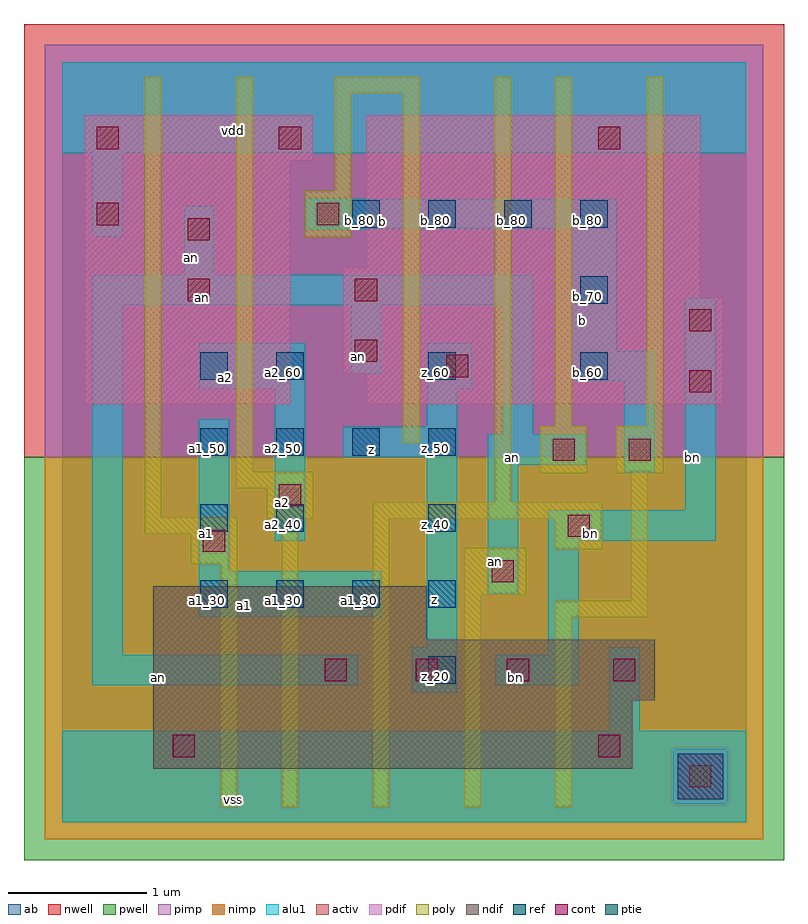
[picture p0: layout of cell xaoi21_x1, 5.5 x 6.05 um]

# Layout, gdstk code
import gdstk
lib = gdstk.Library(unit=1e-6, precision=2.5e-09)
def R(c, l, rs):  # rectangles x0, y0, x1, y1
    for r in rs: c.add(gdstk.rectangle(r[:2], r[2:], *l))
def A(c, l, x, y, w, h, nx, ny, dx, dy):  # array of equal rectangles
    R(c, l, [(x+i*dx, y+j*dy, x+i*dx+w, y+j*dy+h) for i in range(nx) for j in range(ny)])
ndif = (3, 0)
pdif = (4, 0)
ptie = (6, 0)
ref = (24, 0)
cont = (25, 0)
pwell = (41, 0)
nwell = (42, 0)
activ = (43, 0)
pimp = (44, 0)
nimp = (45, 0)
poly = (46, 0)
alu1 = (49, 0)
ab = (63, 0)

xaoi21_x1 = lib.new_cell('xaoi21_x1')
R(xaoi21_x1, ndif, [(0.66,0.385,4.125,0.88), (0.66,0.88,4.29,1.32), (0.66,1.32,2.64,1.705)])
R(xaoi21_x1, pdif, [(0.165,3.025,1.65,4.785), (2.2,3.025,4.785,3.245), (2.035,3.245,4.785,3.795), (2.035,3.795,4.62,4.015), (2.2,4.015,4.62,5.115), (0.165,4.785,1.815,5.115)])
R(xaoi21_x1, ptie, [(4.455,0.165,4.785,0.495)])
A(xaoi21_x1, ref, 1, 1.55, 0.2, 0.2, 4, 2, 0.55, 1.1)
A(xaoi21_x1, ref, 1.55, 3.2, 0.2, 0.2, 3, 1, 1.1, 0)
A(xaoi21_x1, ref, 2.1, 4.3, 0.2, 0.2, 4, 1, 0.55, 0)
R(xaoi21_x1, ref, [(2.65,1,2.85,1.2), (1,2.1,1.2,2.3), (1.55,2.1,1.75,2.3), (2.65,2.1,2.85,2.3), (1,3.2,1.2,3.4), (3.75,3.75,3.95,3.95)])
A(xaoi21_x1, cont, 1.9, 1.02, 0.16, 0.16, 3, 1, 0.66, 0)
R(xaoi21_x1, cont, [(4.54,0.25,4.7,0.41), (0.8,0.47,0.96,0.63), (3.88,0.47,4.04,0.63), (3.99,1.02,4.15,1.18), (3.11,1.735,3.27,1.895), (1.02,1.955,1.18,2.115), (3.66,2.065,3.82,2.225), (1.57,2.285,1.73,2.445), (3.55,2.615,3.71,2.775), (4.1,2.615,4.26,2.775), (4.54,3.11,4.7,3.27), (2.78,3.22,2.94,3.38), (2.12,3.33,2.28,3.49), (4.54,3.55,4.7,3.71), (0.91,3.77,1.07,3.93), (2.12,3.77,2.28,3.93), (0.91,4.21,1.07,4.37), (0.25,4.32,0.41,4.48), (1.845,4.32,2.005,4.48), (0.25,4.87,0.41,5.03), (1.57,4.87,1.73,5.03), (3.88,4.87,4.04,5.03)])
R(xaoi21_x1, pwell, [(-0.275,-0.275,5.225,2.64)])
R(xaoi21_x1, nwell, [(-0.275,2.64,5.225,5.775)])
R(xaoi21_x1, activ, [(4.455,0.165,4.785,0.495), (0.66,0.385,4.125,0.88), (0.66,0.88,4.29,1.32), (0.66,1.32,2.64,1.705), (0.165,3.025,1.65,4.785), (2.2,3.025,4.785,3.245), (2.035,3.245,4.785,3.795), (2.035,3.795,4.62,4.015), (2.2,4.015,4.62,5.115), (0.165,4.785,1.815,5.115)])
R(xaoi21_x1, pimp, [(4.415,0.125,4.825,0.535), (-0.125,2.64,5.075,5.625)])
R(xaoi21_x1, nimp, [(-0.125,-0.125,5.075,0.125), (-0.125,0.125,4.415,0.535), (4.825,0.125,5.075,0.535), (-0.125,0.535,5.075,2.64)])
R(xaoi21_x1, poly, [(1.15,0.105,1.27,1.865), (1.59,0.105,1.71,2.195), (2.25,0.105,2.37,2.195), (2.91,0.105,3.03,1.645), (3.57,0.105,3.69,1.48), (3.57,1.48,4.24,1.6), (4.12,1.6,4.24,2.525), (2.91,1.645,3.36,1.985), (0.93,1.865,1.27,2.085), (3.57,1.975,3.91,2.195), (0.6,2.085,1.27,2.205), (1.48,2.195,1.82,2.415), (2.25,2.195,3.91,2.315), (0.6,2.205,0.72,5.395), (3.13,2.315,3.25,5.395), (1.26,2.415,1.82,2.535), (3.46,2.525,3.8,2.865), (4.01,2.525,4.35,2.865), (1.26,2.535,1.38,5.395), (2.47,2.745,2.59,5.275), (3.57,2.865,3.69,5.395), (4.23,2.865,4.35,5.395), (1.755,4.23,2.095,4.57), (1.975,4.57,2.095,5.275), (1.975,5.275,2.59,5.395)])
R(xaoi21_x1, alu1, [(0,0,4.95,0.66), (3.96,0.66,4.18,1.265), (2.53,0.935,2.86,1.265), (0.22,0.99,2.145,1.21), (3.135,0.99,3.74,1.21), (0.22,1.21,0.44,3.74), (3.52,1.21,3.74,2.035), (2.64,1.265,2.86,2.64), (0.99,1.485,2.31,1.815), (3.08,1.65,3.3,2.585), (0.99,1.815,1.21,2.915), (1.54,2.035,1.76,3.135), (3.52,2.035,4.73,2.255), (4.51,2.255,4.73,3.795), (4.07,2.53,4.29,3.19), (3.08,2.585,3.795,2.805), (2.035,2.64,2.86,2.86), (3.19,2.805,3.41,3.74), (2.64,2.86,2.86,3.135), (0.99,3.135,1.76,3.465), (2.64,3.135,2.97,3.465), (3.685,3.19,4.29,3.41), (2.09,3.245,2.31,3.74), (3.685,3.41,4.015,4.29), (0.22,3.74,3.41,3.96), (0.88,3.96,1.1,4.455), (0.22,4.235,0.44,4.84), (1.76,4.29,4.015,4.51), (0,4.84,4.95,5.5)])
R(xaoi21_x1, ab, [(0,0,4.95,5.5)])
xaoi21_x1.add(gdstk.Label('vss', (1.2375,0.165), layer=49, texttype=0))
xaoi21_x1.add(gdstk.Label('bn', (3.285,1.045), layer=49, texttype=0))
xaoi21_x1.add(gdstk.Label('an', (0.7,1.045), layer=49, texttype=0))
xaoi21_x1.add(gdstk.Label('bn', (3.8225,2.09), layer=49, texttype=0))
xaoi21_x1.add(gdstk.Label('bn', (4.565,2.64), layer=49, texttype=0))
xaoi21_x1.add(gdstk.Label('an', (3.135,1.8825), layer=49, texttype=0))
xaoi21_x1.add(gdstk.Label('an', (3.2575,2.64), layer=49, texttype=0))
xaoi21_x1.add(gdstk.Label('z', (2.695,1.6075), layer=49, texttype=0))
xaoi21_x1.add(gdstk.Label('a1', (1.32,1.5675), layer=49, texttype=0))
xaoi21_x1.add(gdstk.Label('b', (3.7675,3.63), layer=49, texttype=0))
xaoi21_x1.add(gdstk.Label('z', (2.24,2.695), layer=49, texttype=0))
xaoi21_x1.add(gdstk.Label('a2', (1.595,2.31), layer=49, texttype=0))
xaoi21_x1.add(gdstk.Label('a1', (1.045,2.09), layer=49, texttype=0))
xaoi21_x1.add(gdstk.Label('an', (2.145,3.3675), layer=49, texttype=0))
xaoi21_x1.add(gdstk.Label('a2', (1.1825,3.2175), layer=49, texttype=0))
xaoi21_x1.add(gdstk.Label('an', (1.0175,3.795), layer=49, texttype=0))
xaoi21_x1.add(gdstk.Label('b', (2.3225,4.345), layer=49, texttype=0))
xaoi21_x1.add(gdstk.Label('an', (0.935,4.0825), layer=49, texttype=0))
xaoi21_x1.add(gdstk.Label('vdd', (1.2375,5.005), layer=49, texttype=0))
xaoi21_x1.add(gdstk.Label('z_50', (2.15,2.7), layer=24, texttype=0))
xaoi21_x1.add(gdstk.Label('b_60', (3.8,3.25), layer=24, texttype=0))
xaoi21_x1.add(gdstk.Label('z_20', (2.7,1.05), layer=24, texttype=0))
xaoi21_x1.add(gdstk.Label('z_30', (2.7,1.6), layer=24, texttype=0))
xaoi21_x1.add(gdstk.Label('z_40', (2.7,2.15), layer=24, texttype=0))
xaoi21_x1.add(gdstk.Label('z_50', (2.7,2.7), layer=24, texttype=0))
xaoi21_x1.add(gdstk.Label('z_60', (2.7,3.25), layer=24, texttype=0))
xaoi21_x1.add(gdstk.Label('b_80', (2.15,4.35), layer=24, texttype=0))
xaoi21_x1.add(gdstk.Label('b_80', (2.7,4.35), layer=24, texttype=0))
xaoi21_x1.add(gdstk.Label('b_80', (3.25,4.35), layer=24, texttype=0))
xaoi21_x1.add(gdstk.Label('b_80', (3.8,4.35), layer=24, texttype=0))
xaoi21_x1.add(gdstk.Label('b_70', (3.8,3.8), layer=24, texttype=0))
xaoi21_x1.add(gdstk.Label('a2_60', (1.05,3.25), layer=24, texttype=0))
xaoi21_x1.add(gdstk.Label('a2_60', (1.6,3.25), layer=24, texttype=0))
xaoi21_x1.add(gdstk.Label('a2_50', (1.6,2.7), layer=24, texttype=0))
xaoi21_x1.add(gdstk.Label('a2_40', (1.6,2.15), layer=24, texttype=0))
xaoi21_x1.add(gdstk.Label('a1_30', (2.15,1.6), layer=24, texttype=0))
xaoi21_x1.add(gdstk.Label('a1_30', (1.6,1.6), layer=24, texttype=0))
xaoi21_x1.add(gdstk.Label('a1_30', (1.05,1.6), layer=24, texttype=0))
xaoi21_x1.add(gdstk.Label('a1_40', (1.05,2.15), layer=24, texttype=0))
xaoi21_x1.add(gdstk.Label('a1_50', (1.05,2.7), layer=24, texttype=0))

lib.write_gds('xaoi21_x1.gds')
